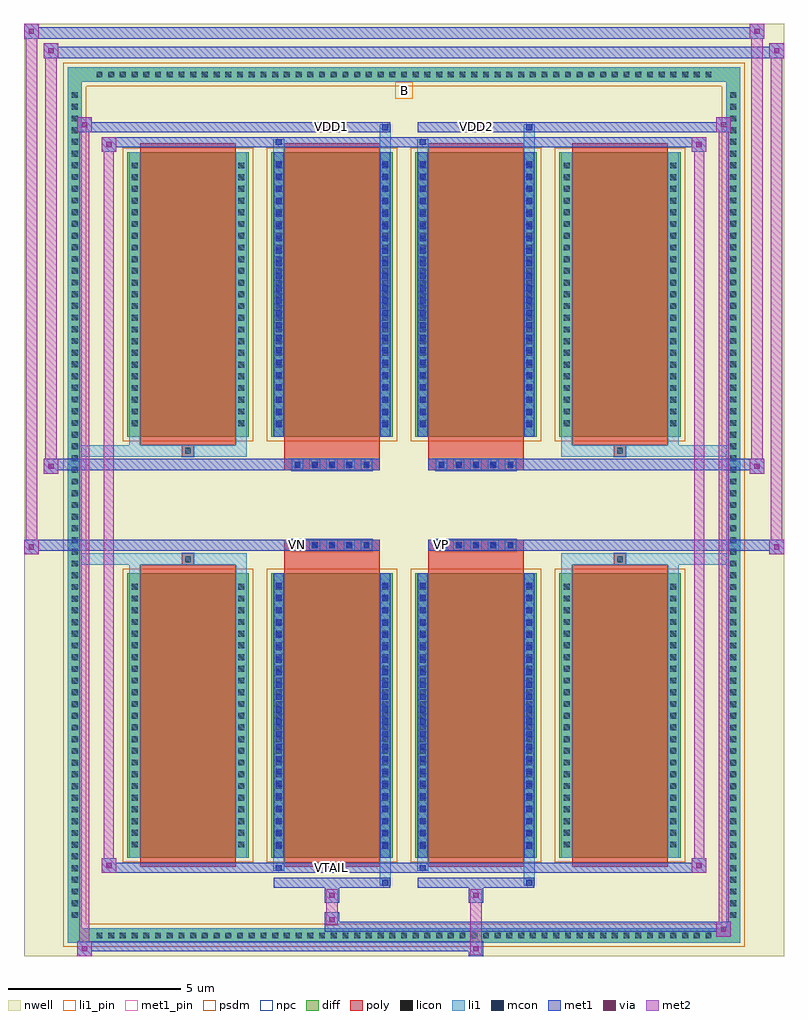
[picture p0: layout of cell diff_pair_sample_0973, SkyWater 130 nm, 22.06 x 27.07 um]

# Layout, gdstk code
import gdstk
lib = gdstk.Library(unit=1e-6, precision=5e-09)
def R(c, l, rs):  # rectangles x0, y0, x1, y1
    for r in rs: c.add(gdstk.rectangle(r[:2], r[2:], *l))
def A(c, l, x, y, w, h, nx, ny, dx, dy):  # array of equal rectangles
    R(c, l, [(x+i*dx, y+j*dy, x+i*dx+w, y+j*dy+h) for i in range(nx) for j in range(ny)])
def P(c, l, *ps):  # polygons
    for p in ps: c.add(gdstk.Polygon(p, *l))
nwell = (64, 20)
diff = (65, 20)
poly = (66, 20)
licon = (66, 44)
li1_pin = (67, 16)
li1 = (67, 20)
mcon = (67, 44)
met1_pin = (68, 16)
met1 = (68, 20)
via = (68, 44)
met2 = (69, 20)
psdm = (94, 20)
npc = (95, 20)

diff_pair_sample_0973 = lib.new_cell('diff_pair_sample_0973')
R(diff_pair_sample_0973, nwell, [(-11.03,-13.1,11.03,13.97), (-8.35,-11.29,-0.01,-0.805), (0.01,-11.29,8.35,-0.805), (-8.35,0.805,-0.01,11.29), (0.01,0.805,8.35,11.29)])
A(diff_pair_sample_0973, diff, -9.045, -12.7, 0.41, 0.41, 53, 2, 0.34, 24.99)
A(diff_pair_sample_0973, diff, -9.76, -12.105, 0.41, 0.41, 1, 71, 0, 0.34)
A(diff_pair_sample_0973, diff, 9.35, -12.105, 0.41, 0.41, 1, 71, 0, 0.34)
A(diff_pair_sample_0973, diff, -8.04, -10.245, 3.54, 8.26, 4, 2, 4.18, 12.23)
R(diff_pair_sample_0973, diff, [(-9.045,-12.7,9.045,-12.29), (-9.76,-12.105,-9.35,12.105), (9.35,-12.105,9.76,12.105), (-9.045,12.29,9.045,12.7)])
P(diff_pair_sample_0973, diff, [(9.76,12.7),(-9.76,12.7),(-9.76,-12.29),(-9.35,-12.29),(-9.35,12.29),(9.35,12.29),(9.35,-12.29),(-9.35,-12.29),(-9.76,-12.29),(-9.76,-12.7),(9.76,-12.7)])
A(diff_pair_sample_0973, poly, -7.65, -10.495, 2.76, 8.76, 4, 2, 4.18, 12.23)
A(diff_pair_sample_0973, poly, -3.255, -1.335, 0.33, 0.33, 5, 2, 0.5, 2.34)
A(diff_pair_sample_0973, poly, 0.925, -1.335, 0.33, 0.33, 5, 2, 0.5, 2.34)
R(diff_pair_sample_0973, poly, [(-6.435,-1.735,-6.105,-1.405), (-6.435,-1.735,-6.105,-1.405), (-3.47,-1.735,-0.71,-1.335), (0.71,-1.735,3.47,-1.335), (6.105,-1.735,6.435,-1.405), (6.105,-1.735,6.435,-1.405), (-3.47,-1.335,-0.71,-1.005), (0.71,-1.335,3.47,-1.005), (-3.47,1.005,-0.71,1.335), (0.71,1.005,3.47,1.335), (-3.47,1.335,-0.71,1.735), (0.71,1.335,3.47,1.735), (-6.435,1.405,-6.105,1.735), (-6.435,1.405,-6.105,1.735), (6.105,1.405,6.435,1.735), (6.105,1.405,6.435,1.735)])
A(diff_pair_sample_0973, licon, -8.925, -12.58, 0.17, 0.17, 53, 2, 0.34, 24.99)
A(diff_pair_sample_0973, licon, -9.64, -11.985, 0.17, 0.17, 1, 71, 0, 0.34)
A(diff_pair_sample_0973, licon, 9.47, -11.985, 0.17, 0.17, 1, 71, 0, 0.34)
A(diff_pair_sample_0973, licon, -7.9, -9.94, 0.17, 0.17, 1, 23, 0, 0.34)
A(diff_pair_sample_0973, licon, -4.81, -9.94, 0.17, 0.17, 1, 23, 0, 0.34)
A(diff_pair_sample_0973, licon, -3.72, -9.94, 0.17, 0.17, 1, 23, 0, 0.34)
A(diff_pair_sample_0973, licon, -0.63, -9.94, 0.17, 0.17, 1, 23, 0, 0.34)
A(diff_pair_sample_0973, licon, 0.46, -9.94, 0.17, 0.17, 1, 23, 0, 0.34)
A(diff_pair_sample_0973, licon, 3.55, -9.94, 0.17, 0.17, 1, 23, 0, 0.34)
A(diff_pair_sample_0973, licon, 4.64, -9.94, 0.17, 0.17, 1, 23, 0, 0.34)
A(diff_pair_sample_0973, licon, 7.73, -9.94, 0.17, 0.17, 1, 23, 0, 0.34)
A(diff_pair_sample_0973, licon, -3.175, -1.255, 0.17, 0.17, 5, 2, 0.5, 2.34)
A(diff_pair_sample_0973, licon, 1.005, -1.255, 0.17, 0.17, 5, 2, 0.5, 2.34)
A(diff_pair_sample_0973, licon, -7.9, 2.29, 0.17, 0.17, 1, 23, 0, 0.34)
A(diff_pair_sample_0973, licon, -4.81, 2.29, 0.17, 0.17, 1, 23, 0, 0.34)
A(diff_pair_sample_0973, licon, -3.72, 2.29, 0.17, 0.17, 1, 23, 0, 0.34)
A(diff_pair_sample_0973, licon, -0.63, 2.29, 0.17, 0.17, 1, 23, 0, 0.34)
A(diff_pair_sample_0973, licon, 0.46, 2.29, 0.17, 0.17, 1, 23, 0, 0.34)
A(diff_pair_sample_0973, licon, 3.55, 2.29, 0.17, 0.17, 1, 23, 0, 0.34)
A(diff_pair_sample_0973, licon, 4.64, 2.29, 0.17, 0.17, 1, 23, 0, 0.34)
A(diff_pair_sample_0973, licon, 7.73, 2.29, 0.17, 0.17, 1, 23, 0, 0.34)
R(diff_pair_sample_0973, licon, [(-6.355,-1.655,-6.185,-1.485), (6.185,-1.655,6.355,-1.485), (-6.355,1.485,-6.185,1.655), (6.185,1.485,6.355,1.655)])
R(diff_pair_sample_0973, li1_pin, [(-0.25,11.79,0.25,12.29)])
A(diff_pair_sample_0973, li1, -9.005, -12.66, 0.33, 0.33, 53, 2, 0.34, 24.99)
A(diff_pair_sample_0973, li1, -9.72, -12.065, 0.33, 0.33, 1, 71, 0, 0.34)
A(diff_pair_sample_0973, li1, 9.39, -12.065, 0.33, 0.33, 1, 71, 0, 0.34)
A(diff_pair_sample_0973, li1, -7.98, -10.02, 0.33, 0.33, 1, 23, 0, 0.34)
A(diff_pair_sample_0973, li1, -4.89, -10.02, 0.33, 0.33, 1, 23, 0, 0.34)
A(diff_pair_sample_0973, li1, -3.8, -10.02, 0.33, 0.33, 1, 23, 0, 0.34)
A(diff_pair_sample_0973, li1, -0.71, -10.02, 0.33, 0.33, 1, 23, 0, 0.34)
A(diff_pair_sample_0973, li1, 0.38, -10.02, 0.33, 0.33, 1, 23, 0, 0.34)
A(diff_pair_sample_0973, li1, 3.47, -10.02, 0.33, 0.33, 1, 23, 0, 0.34)
A(diff_pair_sample_0973, li1, 4.56, -10.02, 0.33, 0.33, 1, 23, 0, 0.34)
A(diff_pair_sample_0973, li1, 7.65, -10.02, 0.33, 0.33, 1, 23, 0, 0.34)
A(diff_pair_sample_0973, li1, -3.72, -9.98, 0.17, 0.17, 1, 22, 0, 0.36)
A(diff_pair_sample_0973, li1, -0.63, -9.98, 0.17, 0.17, 1, 22, 0, 0.36)
A(diff_pair_sample_0973, li1, 0.46, -9.98, 0.17, 0.17, 1, 22, 0, 0.36)
A(diff_pair_sample_0973, li1, 3.55, -9.98, 0.17, 0.17, 1, 22, 0, 0.36)
A(diff_pair_sample_0973, li1, -3.255, -1.335, 0.33, 0.33, 5, 2, 0.5, 2.34)
A(diff_pair_sample_0973, li1, 0.925, -1.335, 0.33, 0.33, 5, 2, 0.5, 2.34)
A(diff_pair_sample_0973, li1, -7.98, 2.21, 0.33, 0.33, 1, 23, 0, 0.34)
A(diff_pair_sample_0973, li1, -4.89, 2.21, 0.33, 0.33, 1, 23, 0, 0.34)
A(diff_pair_sample_0973, li1, -3.8, 2.21, 0.33, 0.33, 1, 23, 0, 0.34)
A(diff_pair_sample_0973, li1, -0.71, 2.21, 0.33, 0.33, 1, 23, 0, 0.34)
A(diff_pair_sample_0973, li1, 0.38, 2.21, 0.33, 0.33, 1, 23, 0, 0.34)
A(diff_pair_sample_0973, li1, 3.47, 2.21, 0.33, 0.33, 1, 23, 0, 0.34)
A(diff_pair_sample_0973, li1, 4.56, 2.21, 0.33, 0.33, 1, 23, 0, 0.34)
A(diff_pair_sample_0973, li1, 7.65, 2.21, 0.33, 0.33, 1, 23, 0, 0.34)
A(diff_pair_sample_0973, li1, -3.72, 2.25, 0.17, 0.17, 1, 22, 0, 0.36)
A(diff_pair_sample_0973, li1, -0.63, 2.25, 0.17, 0.17, 1, 22, 0, 0.36)
A(diff_pair_sample_0973, li1, 0.46, 2.25, 0.17, 0.17, 1, 22, 0, 0.36)
A(diff_pair_sample_0973, li1, 3.55, 2.25, 0.17, 0.17, 1, 22, 0, 0.36)
R(diff_pair_sample_0973, li1, [(-9.76,-12.7,-9.35,-12.29), (-9.76,-12.7,-9.35,-12.29), (-9.35,-12.7,9.35,-12.29), (9.35,-12.7,9.76,-12.29), (9.35,-12.7,9.76,-12.29), (-9.76,-12.29,-9.35,12.29), (9.35,-12.29,9.76,12.29), (-0.71,-11.05,-0.38,-10.245), (-0.63,-11.05,-0.46,-10.88), (3.47,-11.05,3.8,-10.245), (3.55,-11.05,3.72,-10.88), (-3.8,-10.62,-3.47,-10.245), (-3.72,-10.62,-3.55,-10.45), (0.38,-10.62,0.71,-10.245), (0.46,-10.62,0.63,-10.45), (-7.98,-10.245,-7.65,-1.985), (-4.89,-10.245,-4.56,-1.985), (-3.8,-10.245,-3.47,-1.985), (-0.71,-10.245,-0.38,-1.985), (0.38,-10.245,0.71,-1.985), (3.47,-10.245,3.8,-1.985), (4.56,-10.245,4.89,-1.985), (7.65,-10.245,7.98,-1.985), (-3.72,-9.98,-3.55,-2.25), (-0.63,-9.98,-0.46,-2.25), (0.46,-9.98,0.63,-2.25), (3.55,-9.98,3.72,-2.25), (-7.98,-1.985,-7.65,-1.405), (-4.89,-1.985,-4.56,-1.405), (4.56,-1.985,4.89,-1.405), (7.65,-1.985,7.98,-1.405), (-9.76,-1.735,-6.435,-1.405), (-7.98,-1.735,-6.435,-1.405), (-6.435,-1.735,-6.105,-1.405), (-6.105,-1.735,-4.56,-1.405), (4.56,-1.735,6.105,-1.405), (6.105,-1.735,6.435,-1.405), (6.105,-1.735,9.76,-1.405), (6.435,-1.735,7.98,-1.405), (-9.76,1.405,-6.435,1.735), (-7.98,1.405,-6.435,1.735), (-7.98,1.405,-7.65,1.985), (-6.435,1.405,-6.105,1.735), (-6.105,1.405,-4.56,1.735), (-4.89,1.405,-4.56,1.985), (4.56,1.405,6.105,1.735), (4.56,1.405,4.89,1.985), (6.105,1.405,6.435,1.735), (6.105,1.405,9.76,1.735), (6.435,1.405,7.98,1.735), (7.65,1.405,7.98,1.985), (-7.98,1.985,-7.65,10.245), (-4.89,1.985,-4.56,10.245), (-3.8,1.985,-3.47,10.245), (-0.71,1.985,-0.38,10.245), (0.38,1.985,0.71,10.245), (3.47,1.985,3.8,10.245), (4.56,1.985,4.89,10.245), (7.65,1.985,7.98,10.245), (-3.72,2.25,-3.55,9.98), (-0.63,2.25,-0.46,9.98), (0.46,2.25,0.63,9.98), (3.55,2.25,3.72,9.98), (-3.8,10.245,-3.47,10.62), (-0.71,10.245,-0.38,11.05), (0.38,10.245,0.71,10.62), (3.47,10.245,3.8,11.05), (-3.72,10.45,-3.55,10.62), (0.46,10.45,0.63,10.62), (-0.63,10.88,-0.46,11.05), (3.55,10.88,3.72,11.05), (-9.76,12.29,-9.35,12.7), (-9.76,12.29,-9.35,12.7), (-9.35,12.29,9.35,12.7), (9.35,12.29,9.76,12.7), (9.35,12.29,9.76,12.7)])
A(diff_pair_sample_0973, mcon, -3.72, -9.98, 0.17, 0.17, 1, 22, 0, 0.36)
A(diff_pair_sample_0973, mcon, -0.63, -9.98, 0.17, 0.17, 1, 22, 0, 0.36)
A(diff_pair_sample_0973, mcon, 0.46, -9.98, 0.17, 0.17, 1, 22, 0, 0.36)
A(diff_pair_sample_0973, mcon, 3.55, -9.98, 0.17, 0.17, 1, 22, 0, 0.36)
A(diff_pair_sample_0973, mcon, -3.175, -1.255, 0.17, 0.17, 5, 2, 0.5, 2.34)
A(diff_pair_sample_0973, mcon, 1.005, -1.255, 0.17, 0.17, 5, 2, 0.5, 2.34)
A(diff_pair_sample_0973, mcon, -3.72, 2.25, 0.17, 0.17, 1, 22, 0, 0.36)
A(diff_pair_sample_0973, mcon, -0.63, 2.25, 0.17, 0.17, 1, 22, 0, 0.36)
A(diff_pair_sample_0973, mcon, 0.46, 2.25, 0.17, 0.17, 1, 22, 0, 0.36)
A(diff_pair_sample_0973, mcon, 3.55, 2.25, 0.17, 0.17, 1, 22, 0, 0.36)
R(diff_pair_sample_0973, mcon, [(-0.63,-11.05,-0.46,-10.88), (3.55,-11.05,3.72,-10.88), (-3.72,-10.62,-3.55,-10.45), (0.46,-10.62,0.63,-10.45), (-3.72,10.45,-3.55,10.62), (0.46,10.45,0.63,10.62), (-0.63,10.88,-0.46,11.05), (3.55,10.88,3.72,11.05)])
R(diff_pair_sample_0973, met1_pin, [(-2.225,-10.66,-1.955,-10.39), (-3.225,-1.295,-2.955,-1.025), (0.955,-1.295,1.225,-1.025), (-2.225,10.84,-1.955,11.11), (1.955,10.84,2.225,11.11)])
A(diff_pair_sample_0973, met1, -3.78, -10.04, 0.29, 0.29, 1, 22, 0, 0.36)
A(diff_pair_sample_0973, met1, -0.69, -10.04, 0.29, 0.29, 1, 22, 0, 0.36)
A(diff_pair_sample_0973, met1, 0.4, -10.04, 0.29, 0.29, 1, 22, 0, 0.36)
A(diff_pair_sample_0973, met1, 3.49, -10.04, 0.29, 0.29, 1, 22, 0, 0.36)
A(diff_pair_sample_0973, met1, -3.235, -1.315, 0.29, 0.29, 5, 2, 0.5, 2.34)
A(diff_pair_sample_0973, met1, 0.945, -1.315, 0.29, 0.29, 5, 2, 0.5, 2.34)
A(diff_pair_sample_0973, met1, -3.78, 2.19, 0.29, 0.29, 1, 22, 0, 0.36)
A(diff_pair_sample_0973, met1, -0.69, 2.19, 0.29, 0.29, 1, 22, 0, 0.36)
A(diff_pair_sample_0973, met1, 0.4, 2.19, 0.29, 0.29, 1, 22, 0, 0.36)
A(diff_pair_sample_0973, met1, 3.49, 2.19, 0.29, 0.29, 1, 22, 0, 0.36)
R(diff_pair_sample_0973, met1, [(-9.49,-13.1,-9.06,-12.67), (1.875,-13.1,2.305,-12.67), (-9.49,-12.96,2.305,-12.67), (9.06,-12.53,9.49,-12.1), (-2.305,-12.39,9.49,-12.1), (-2.305,-12.25,-1.875,-11.82), (-2.305,-11.54,-1.875,-11.11), (1.875,-11.54,2.305,-11.11), (-3.78,-11.11,-0.4,-10.82), (-0.69,-11.11,-0.4,-10.82), (0.4,-11.11,3.78,-10.82), (3.49,-11.11,3.78,-10.82), (-8.78,-10.68,-8.35,-10.25), (-8.78,-10.68,-3.78,-10.39), (-3.78,-10.68,-3.49,-10.39), (-3.78,-10.68,-0.4,-10.39), (-0.4,-10.68,0.4,-10.39), (0.4,-10.68,0.69,-10.39), (0.4,-10.68,3.78,-10.39), (3.78,-10.68,8.78,-10.39), (8.35,-10.68,8.78,-10.25), (-3.78,-10.245,-3.49,-1.985), (-0.69,-10.245,-0.4,-1.985), (0.4,-10.245,0.69,-1.985), (3.49,-10.245,3.78,-1.985), (-11.03,-1.435,-10.6,-1.005), (10.6,-1.435,11.03,-1.005), (-11.03,-1.335,-0.71,-1.005), (-3.47,-1.335,-0.71,-1.005), (0.71,-1.335,3.47,-1.005), (0.71,-1.335,11.03,-1.005), (-10.46,0.905,-10.03,1.335), (10.03,0.905,10.46,1.335), (-10.46,1.005,-3.47,1.335), (-3.47,1.005,-0.71,1.335), (0.71,1.005,3.47,1.335), (3.47,1.005,10.46,1.335), (-3.78,1.985,-3.49,10.245), (-0.69,1.985,-0.4,10.245), (0.4,1.985,0.69,10.245), (3.49,1.985,3.78,10.245), (-8.78,10.25,-8.35,10.68), (8.35,10.25,8.78,10.68), (-8.78,10.39,-3.78,10.68), (-3.78,10.39,-3.49,10.68), (-3.78,10.39,-0.4,10.68), (-0.4,10.39,0.4,10.68), (0.4,10.39,0.69,10.68), (0.4,10.39,3.78,10.68), (3.78,10.39,8.78,10.68), (-9.49,10.82,-9.06,11.25), (-9.49,10.82,-3.78,11.11), (-3.78,10.82,-0.4,11.11), (-0.69,10.82,-0.4,11.11), (0.4,10.82,3.78,11.11), (3.49,10.82,3.78,11.11), (3.78,10.82,9.49,11.11), (9.06,10.82,9.49,11.25), (-10.46,12.97,-10.03,13.4), (-10.46,12.97,-8.35,13.3), (-8.35,12.97,8.35,13.3), (8.35,12.97,11.03,13.3), (10.6,12.97,11.03,13.4), (-11.03,13.54,-10.6,13.97), (-11.03,13.54,-8.35,13.87), (-8.35,13.54,8.35,13.87), (8.35,13.54,10.46,13.87), (10.03,13.54,10.46,13.97)])
R(diff_pair_sample_0973, via, [(-9.35,-12.96,-9.2,-12.81), (2.015,-12.96,2.165,-12.81), (9.2,-12.39,9.35,-12.24), (-2.165,-12.11,-2.015,-11.96), (-2.165,-11.4,-2.015,-11.25), (2.015,-11.4,2.165,-11.25), (-8.64,-10.54,-8.49,-10.39), (8.49,-10.54,8.64,-10.39), (-10.89,-1.295,-10.74,-1.145), (10.74,-1.295,10.89,-1.145), (-10.32,1.045,-10.17,1.195), (10.17,1.045,10.32,1.195), (-8.64,10.39,-8.49,10.54), (8.49,10.39,8.64,10.54), (-9.35,10.96,-9.2,11.11), (9.2,10.96,9.35,11.11), (-10.32,13.11,-10.17,13.26), (10.74,13.11,10.89,13.26), (-10.89,13.68,-10.74,13.83), (10.17,13.68,10.32,13.83)])
R(diff_pair_sample_0973, met2, [(-9.49,-13.1,-9.06,-12.67), (-9.42,-13.1,-9.13,11.25), (-9.13,-13.1,-9.06,-12.67), (-9.44,-13.05,-9.11,-12.72), (1.925,-13.05,2.255,-12.72), (1.925,-12.72,2.255,-11.49), (9.06,-12.53,9.49,-12.1), (9.13,-12.53,9.42,11.25), (9.42,-12.53,9.49,-12.1), (9.11,-12.48,9.44,-12.15), (-2.255,-12.2,-1.925,-11.87), (-2.255,-11.87,-1.925,-11.49), (-2.255,-11.49,-1.925,-11.16), (1.925,-11.49,2.255,-11.16), (-8.78,-10.68,-8.35,-10.25), (-8.71,-10.68,-8.42,10.68), (-8.42,-10.68,-8.35,-10.25), (8.35,-10.68,8.78,-10.25), (8.42,-10.68,8.71,10.68), (8.71,-10.68,8.78,-10.25), (-8.73,-10.63,-8.4,-10.3), (8.4,-10.63,8.73,-10.3), (-11.03,-1.435,-10.6,-1.005), (-10.98,-1.435,-10.65,13.97), (-10.65,-1.435,-10.6,-1.005), (10.6,-1.435,11.03,-1.005), (10.65,-1.435,10.98,13.4), (10.98,-1.435,11.03,-1.005), (-10.98,-1.385,-10.65,-1.055), (10.65,-1.385,10.98,-1.055), (-10.46,0.905,-10.03,1.335), (-10.41,0.905,-10.08,13.4), (-10.08,0.905,-10.03,1.335), (10.03,0.905,10.46,1.335), (10.08,0.905,10.41,13.97), (10.41,0.905,10.46,1.335), (-10.41,0.955,-10.08,1.285), (10.08,0.955,10.41,1.285), (-8.78,10.25,-8.35,10.68), (-8.42,10.25,-8.35,10.68), (8.35,10.25,8.78,10.68), (8.71,10.25,8.78,10.68), (-8.73,10.3,-8.4,10.63), (8.4,10.3,8.73,10.63), (-9.49,10.82,-9.06,11.25), (-9.13,10.82,-9.06,11.25), (9.06,10.82,9.49,11.25), (9.42,10.82,9.49,11.25), (-9.44,10.87,-9.11,11.2), (9.11,10.87,9.44,11.2), (-10.46,12.97,-10.03,13.4), (-10.08,12.97,-10.03,13.4), (10.6,12.97,11.03,13.4), (10.98,12.97,11.03,13.4), (-10.41,13.02,-10.08,13.35), (10.65,13.02,10.98,13.35), (-11.03,13.54,-10.6,13.97), (-10.65,13.54,-10.6,13.97), (10.03,13.54,10.46,13.97), (10.41,13.54,10.46,13.97), (-10.98,13.59,-10.65,13.92), (10.08,13.59,10.41,13.92)])
A(diff_pair_sample_0973, psdm, -8.17, -10.375, 3.8, 8.52, 4, 2, 4.18, 12.23)
P(diff_pair_sample_0973, psdm, [(9.89,12.83),(-9.89,12.83),(-9.89,-12.16),(-9.22,-12.16),(-9.22,12.16),(9.22,12.16),(9.22,-12.16),(-9.22,-12.16),(-9.89,-12.16),(-9.89,-12.83),(9.89,-12.83)])
A(diff_pair_sample_0973, npc, -3.275, -1.355, 0.37, 0.37, 5, 2, 0.5, 2.34)
A(diff_pair_sample_0973, npc, 0.905, -1.355, 0.37, 0.37, 5, 2, 0.5, 2.34)
R(diff_pair_sample_0973, npc, [(-6.455,-1.755,-6.085,-1.385), (6.085,-1.755,6.455,-1.385), (-3.275,-1.355,-2.405,-0.985), (-3.275,-1.355,-2.405,-0.985), (-2.775,-1.355,-1.905,-0.985), (-2.775,-1.355,-1.905,-0.985), (-2.275,-1.355,-1.405,-0.985), (-2.275,-1.355,-1.405,-0.985), (-1.775,-1.355,-0.905,-0.985), (-1.775,-1.355,-0.905,-0.985), (0.905,-1.355,1.775,-0.985), (0.905,-1.355,1.775,-0.985), (1.405,-1.355,2.275,-0.985), (1.405,-1.355,2.275,-0.985), (1.905,-1.355,2.775,-0.985), (1.905,-1.355,2.775,-0.985), (2.405,-1.355,3.275,-0.985), (2.405,-1.355,3.275,-0.985), (-3.275,0.985,-2.405,1.355), (-3.275,0.985,-2.405,1.355), (-2.775,0.985,-1.905,1.355), (-2.775,0.985,-1.905,1.355), (-2.275,0.985,-1.405,1.355), (-2.275,0.985,-1.405,1.355), (-1.775,0.985,-0.905,1.355), (-1.775,0.985,-0.905,1.355), (0.905,0.985,1.775,1.355), (0.905,0.985,1.775,1.355), (1.405,0.985,2.275,1.355), (1.405,0.985,2.275,1.355), (1.905,0.985,2.775,1.355), (1.905,0.985,2.775,1.355), (2.405,0.985,3.275,1.355), (2.405,0.985,3.275,1.355), (-6.455,1.385,-6.085,1.755), (6.085,1.385,6.455,1.755)])
diff_pair_sample_0973.add(gdstk.Label('VTAIL', (-2.09,-10.525), layer=68, texttype=5))
diff_pair_sample_0973.add(gdstk.Label('VN', (-3.09,-1.16), layer=68, texttype=5))
diff_pair_sample_0973.add(gdstk.Label('VP', (1.09,-1.16), layer=68, texttype=5))
diff_pair_sample_0973.add(gdstk.Label('B', (0,12.04), layer=67, texttype=5))
diff_pair_sample_0973.add(gdstk.Label('VDD2', (2.09,10.975), layer=68, texttype=5))
diff_pair_sample_0973.add(gdstk.Label('VDD1', (-2.09,10.975), layer=68, texttype=5))

lib.write_gds('diff_pair_sample_0973.gds')
